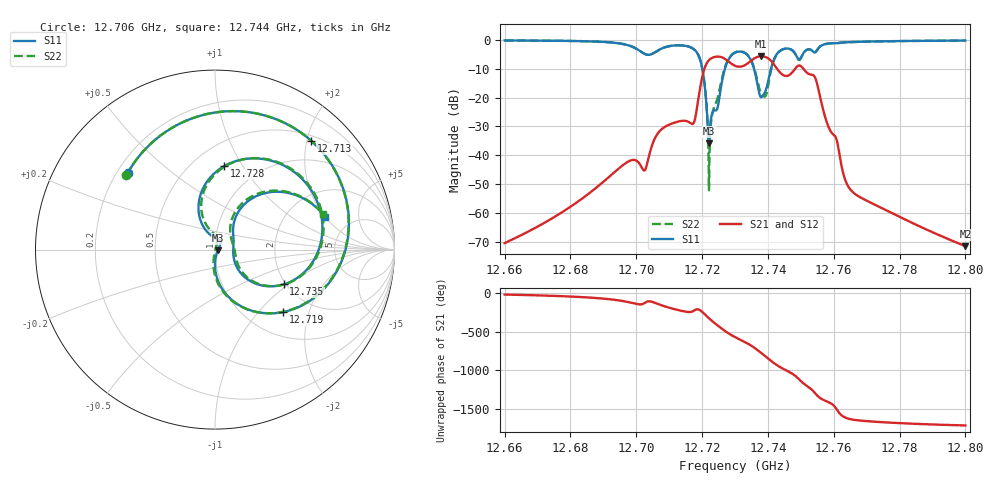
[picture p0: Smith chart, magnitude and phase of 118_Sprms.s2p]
! TOUCHSTONE file generated by CST MICROWAVE STUDIO
! Date and time: Wed Jul 31 16:44:16 2024
! Project name: WaveGuide_BPF-Ver4.1_U-shape_Ku_T3_C4_CWA_2.cst
! Parameters = {cavity_h=16; cavity_l0=10; cavity_l1=15.1663; cavity_l2=16.8649; cavity_l3=17.1091; cavity_l4=17.2458; cavity_l5=17.0907; cavity_l6=17.5605; cavity_r=2.5; cavity_screw_l=0.5; cavity_screw_r=1.5; cavity_w=8; iris_h00=0; iris_h01=8.8343; iris_h112=0; iris_h12=5.6079; iris_h211=3.6606; 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
! Header version: 2018
! Port assignment regex: !\s*Touchstone port\s*([0-9]+)\s*=\s*(CST MWS port|CST DS port)\s*([0-9]+|Zmin|Zmax)\s*\(\"(.*)\"\)(\s*mode\s*([0-9]+))?.*
! Touchstone port assignment:
! Touchstone port 1 = CST MWS port 1 ("")
! Touchstone port 2 = CST MWS port 2 ("")
# GHz S RI R 50
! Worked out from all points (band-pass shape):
!   5001 points, 12.66 GHz to 12.8 GHz, reference 50 ohm
!   highest |S21| = -5.67 dB at 12.738 GHz (marker M1); lowest = -71.6 dB at 12.8 GHz (marker M2)
!   |S21| within 3 dB of the highest: 12.72114 GHz to 12.72952 GHz (8.373 MHz wide, 0.0658 % of centre); 12.73312 GHz to 12.74194 GHz (8.815 MHz wide, 0.0692 % of centre)
!   lowest |S11| = -35.8 dB at 12.722 GHz (marker M3), VSWR 1.03, Z = 51.6 - j0.481 ohm
!   |S11| at or under -10 dB: 12.72007 GHz to 12.72694 GHz (6.863 MHz wide, 0.0539 % of centre); 12.73578 GHz to 12.74093 GHz (5.147 MHz wide, 0.0404 % of centre)
!   |S22| runs from -52.2 to -0.2 dB; largest |S21 - S12| = 1e-09
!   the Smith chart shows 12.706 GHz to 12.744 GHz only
!   S11 on the Smith chart (normalised r, x): 12.706 GHz: 0.24, +0.36; 12.713 GHz: 0.59, +2.09; 12.719 GHz: 1.45, -1.37; 12.728 GHz: 0.70, +0.83; 12.735 GHz: 1.95, -0.93; 12.744 GHz: 3.23, +2.00
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12.66  0.2879 0.939  0.000278 -0.000107  0.000278 -0.000107  0.2817 0.9409
12.68335  0.7043 0.6464  0.00102 -0.0014  0.00102 -0.0014  0.6985 0.6531
12.69559  0.8569 -0.0717  -0.00145 -0.00632  -0.00145 -0.00632  0.8595 -0.0579
12.70102  0.1777 -0.6252  -0.00603 -0.0037  -0.00603 -0.0037  0.1972 -0.6224
12.70637  -0.4859 0.428  -0.0176 -0.015  -0.0176 -0.015  -0.4932 0.4154
12.70668  -0.4444 0.4921  -0.0199 -0.0142  -0.0199 -0.0142  -0.4528 0.4809
12.71286  0.5376 0.6052  -0.0281 0.0264  -0.0281 0.0264  0.5311 0.6105
12.71726  0.7042 -0.0675  -0.0196 0.0291  -0.0196 0.0291  0.7036 -0.063
12.71908  0.3778 -0.3483  -0.09 0.0694  -0.09 0.0694  0.3769 -0.3471
12.72202  0.0155 -0.00466  0.3647 0.2501  0.3647 0.2501  0.000921 -0.00568
12.72521  -0.0354 0.0907  0.1112 -0.5018  0.1112 -0.5018  -0.04 0.125
12.72812  0.0495 0.4641  -0.4065 -0.1004  -0.4065 -0.1004  0.0749 0.4744
12.73  0.3726 0.4735  -0.3054 0.1851  -0.3054 0.1851  0.3889 0.4704
12.73496  0.3832 -0.1937  0.3522 0.2638  0.3522 0.2638  0.3968 -0.1905
12.7379  0.1017 -0.00784  0.2995 -0.426  0.2995 -0.426  0.115 -0.0332
12.74072  0.1519 0.2398  -0.3957 -0.211  -0.3957 -0.211  0.1241 0.2269
12.74352  0.6138 0.1824  -0.1558 0.2314  -0.1558 0.2314  0.602 0.1981
12.74876  0.3492 -0.3819  0.3371 -0.0587  0.3371 -0.0587  0.3467 -0.373
12.75335  0.3234 -0.5708  -0.2485 -0.03  -0.2485 -0.03  0.3398 -0.5647
12.76436  -0.3615 -0.8419  -0.00288 0.000347  -0.00288 0.000347  -0.3524 -0.8455
12.77668  -0.8447 -0.4411  -0.000556 0.000896  -0.000556 0.000896  -0.841 -0.4478
12.8  -0.9658 0.1524  2.59e-05 0.000262  2.59e-05 0.000262  -0.9666 0.1467
